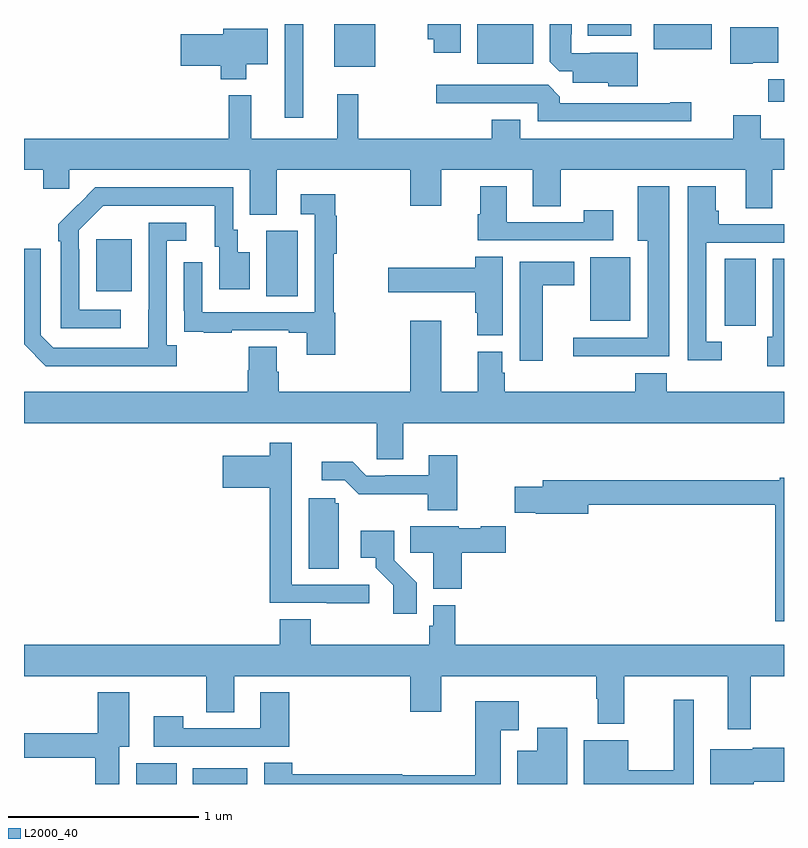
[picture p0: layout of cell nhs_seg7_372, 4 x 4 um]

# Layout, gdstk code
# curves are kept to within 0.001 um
import gdstk
lib = gdstk.Library(unit=1e-6, precision=1e-09)
def R(c, l, rs):  # rectangles x0, y0, x1, y1
    for r in rs: c.add(gdstk.rectangle(r[:2], r[2:], *l))
def P(c, l, *ps):  # polygons
    for p in ps: c.add(gdstk.Polygon(p, *l))
L2000_40 = (2000, 40)

nhs_seg7_372 = lib.new_cell('nhs_seg7_372')
R(nhs_seg7_372, L2000_40, [(139.592,1048,139.804,1048.108), (139.889,1048,140.176,1048.084), (142.688,1050.411,142.852,1050.764), (141.98,1050.437,142.192,1050.772), (140.276,1050.568,140.44,1050.912), (139.379,1050.593,139.567,1050.868), (140.373,1051.506,140.47,1052), (142.918,1051.59,143,1051.708), (140.633,1051.775,140.848,1052), (141.386,1051.79,141.679,1052), (142.314,1051.868,142.621,1052), (141.968,1051.937,142.195,1052)])
P(nhs_seg7_372, L2000_40, [(141.298,1052),(141.125,1052),(141.125,1051.919),(141.157,1051.919),(141.157,1051.848),(141.298,1051.848)],
  [(142.231,1051.849),(141.979,1051.849),(141.979,1051.845),(141.879,1051.845),(141.879,1051.945),(141.883,1051.945),(141.883,1052),(141.767,1052),(141.767,1051.801),(141.816,1051.752),(141.887,1051.752),(141.887,1051.691),(142.074,1051.691),(142.074,1051.673),(142.231,1051.673)],
  [(142.836,1051.796),(142.969,1051.796),(142.969,1051.984),(142.718,1051.984),(142.718,1051.79),(142.836,1051.79)],
  [(140.17,1051.787),(140.284,1051.787),(140.284,1051.975),(140.048,1051.975),(140.048,1051.945),(139.824,1051.945),(139.824,1051.78),(140.036,1051.78),(140.036,1051.709),(140.17,1051.709)],
  [(142.513,1051.589),(142.4,1051.589),(142.4,1051.584),(141.821,1051.584),(141.821,1051.618),(141.759,1051.68),(141.171,1051.68),(141.171,1051.584),(141.705,1051.584),(141.705,1051.488),(142.513,1051.488)],
  [(140.329,1051.232),(141.032,1051.232),(141.032,1051.044),(141.196,1051.044),(141.196,1051.232),(141.677,1051.232),(141.677,1051.042),(141.825,1051.042),(141.825,1051.232),(142.799,1051.232),(142.799,1051.03),(142.939,1051.03),(142.939,1051.232),(143,1051.232),(143,1051.396),(142.877,1051.396),(142.877,1051.52),(142.733,1051.52),(142.733,1051.396),(141.613,1051.396),(141.613,1051.495),(141.461,1051.495),(141.461,1051.396),(140.758,1051.396),(140.758,1051.63),(140.648,1051.63),(140.648,1051.396),(140.195,1051.396),(140.195,1051.624),(140.077,1051.624),(140.077,1051.396),(139,1051.396),(139,1051.232),(139.1,1051.232),(139.1,1051.134),(139.239,1051.134),(139.239,1051.232),(140.189,1051.232),(140.189,1050.997),(140.329,1050.997)],
  [(142.672,1050.327),(142.59,1050.327),(142.59,1050.849),(143,1050.849),(143,1050.945),(142.657,1050.945),(142.657,1051.017),(142.642,1051.017),(142.642,1051.147),(142.494,1051.147),(142.494,1050.23),(142.672,1050.23)],
  [(142.102,1051.021),(141.946,1051.021),(141.946,1050.957),(141.541,1050.957),(141.541,1051.147),(141.401,1051.147),(141.401,1050.999),(141.389,1050.999),(141.389,1050.861),(142.102,1050.861)],
  [(142.396,1051.147),(142.229,1051.147),(142.229,1050.86),(142.283,1050.86),(142.283,1050.348),(141.891,1050.348),(141.891,1050.251),(142.396,1050.251)],
  [(139.51,1050.495),(139.29,1050.495),(139.29,1050.815),(139.287,1050.815),(139.287,1050.915),(139.416,1051.044),(140.003,1051.044),(140.003,1050.828),(140.027,1050.828),(140.027,1050.603),(140.188,1050.603),(140.188,1050.799),(140.125,1050.799),(140.125,1050.918),(140.1,1050.918),(140.1,1051.14),(139.376,1051.14),(139.179,1050.945),(139.179,1050.857),(139.194,1050.857),(139.194,1050.399),(139.51,1050.399)],
  [(140.638,1050.48),(140.63,1050.48),(140.63,1050.792),(140.645,1050.792),(140.645,1050.992),(140.638,1050.992),(140.638,1051.105),(140.457,1051.105),(140.457,1050.999),(140.529,1050.999),(140.529,1050.483),(139.938,1050.483),(139.938,1050.745),(139.842,1050.745),(139.842,1050.49),(139.843,1050.49),(139.843,1050.381),(139.945,1050.381),(139.945,1050.375),(140.093,1050.375),(140.093,1050.387),(140.393,1050.387),(140.393,1050.375),(140.489,1050.375),(140.489,1050.258),(140.638,1050.258)],
  [(139.804,1050.31),(139.752,1050.31),(139.752,1050.858),(139.855,1050.858),(139.855,1050.954),(139.656,1050.954),(139.655,1050.297),(139.155,1050.297),(139.089,1050.363),(139.089,1050.817),(139,1050.817),(139,1050.314),(139.114,1050.2),(139.804,1050.2)],
  [(141.52,1050.776),(141.374,1050.776),(141.374,1050.717),(140.916,1050.717),(140.916,1050.587),(141.374,1050.587),(141.374,1050.479),(141.386,1050.479),(141.386,1050.361),(141.52,1050.361)],
  [(143,1050.764),(142.94,1050.764),(142.94,1050.354),(142.913,1050.354),(142.913,1050.2),(143,1050.2)],
  [(141.73,1050.626),(141.895,1050.626),(141.895,1050.748),(141.608,1050.748),(141.608,1050.228),(141.73,1050.228)],
  [(140.995,1049.9),(143,1049.9),(143,1050.064),(142.382,1050.064),(142.382,1050.163),(142.217,1050.163),(142.217,1050.064),(141.53,1050.064),(141.53,1050.165),(141.517,1050.165),(141.517,1050.276),(141.389,1050.276),(141.389,1050.064),(141.196,1050.064),(141.196,1050.439),(141.032,1050.439),(141.032,1050.064),(140.342,1050.064),(140.342,1050.17),(140.329,1050.17),(140.329,1050.302),(140.182,1050.302),(140.182,1050.177),(140.177,1050.177),(140.177,1050.064),(139,1050.064),(139,1049.9),(140.856,1049.9),(140.856,1049.71),(140.995,1049.71)],
  [(140.818,1049.049),(140.409,1049.049),(140.409,1049.574),(140.41,1049.574),(140.41,1049.797),(140.293,1049.797),(140.293,1049.728),(140.046,1049.728),(140.046,1049.558),(140.293,1049.558),(140.293,1048.953),(140.593,1048.953),(140.593,1048.951),(140.818,1048.951)],
  [(141.279,1049.731),(141.131,1049.731),(141.131,1049.625),(140.902,1049.625),(140.902,1049.622),(140.802,1049.622),(140.729,1049.695),(140.568,1049.695),(140.568,1049.598),(140.688,1049.598),(140.761,1049.525),(141.124,1049.526),(141.124,1049.441),(141.279,1049.441)],
  [(143,1049.611),(142.977,1049.611),(142.977,1049.599),(141.731,1049.599),(141.731,1049.565),(141.582,1049.565),(141.582,1049.427),(141.694,1049.427),(141.694,1049.423),(141.97,1049.423),(141.97,1049.47),(142.954,1049.47),(142.954,1048.857),(143,1048.857)],
  [(140.656,1049.478),(140.637,1049.478),(140.637,1049.505),(140.498,1049.505),(140.498,1049.134),(140.656,1049.134)],
  [(141.305,1049.218),(141.535,1049.218),(141.535,1049.356),(141.405,1049.356),(141.405,1049.347),(141.288,1049.347),(141.288,1049.356),(141.034,1049.356),(141.034,1049.218),(141.155,1049.218),(141.155,1049.027),(141.305,1049.027)],
  [(141.068,1049.058),(140.949,1049.177),(140.949,1049.332),(140.772,1049.332),(140.772,1049.192),(140.852,1049.192),(140.852,1049.137),(140.943,1049.047),(140.943,1048.896),(141.068,1048.896)],
  [(142.825,1048.568),(143,1048.568),(143,1048.732),(141.269,1048.732),(141.269,1048.942),(141.153,1048.942),(141.153,1048.833),(141.133,1048.833),(141.133,1048.732),(140.51,1048.732),(140.51,1048.868),(140.345,1048.868),(140.345,1048.732),(139,1048.732),(139,1048.568),(139.96,1048.568),(139.96,1048.378),(140.107,1048.378),(140.107,1048.568),(141.032,1048.568),(141.032,1048.38),(141.196,1048.38),(141.196,1048.568),(142.012,1048.568),(142.012,1048.448),(142.019,1048.448),(142.019,1048.316),(142.159,1048.316),(142.159,1048.568),(142.703,1048.568),(142.703,1048.287),(142.825,1048.287)],
  [(139.501,1048.196),(139.555,1048.196),(139.555,1048.483),(139.388,1048.483),(139.388,1048.267),(139,1048.267),(139,1048.138),(139.376,1048.138),(139.376,1048),(139.501,1048)],
  [(140.396,1048.483),(140.243,1048.483),(140.243,1048.293),(139.839,1048.293),(139.839,1048.357),(139.683,1048.357),(139.683,1048.197),(140.396,1048.197)],
  [(142.525,1048.444),(142.421,1048.444),(142.421,1048.073),(142.18,1048.073),(142.18,1048.231),(141.947,1048.231),(141.947,1048),(142.525,1048)],
  [(141.508,1048.283),(141.604,1048.283),(141.604,1048.435),(141.374,1048.435),(141.374,1048.045),(140.99,1048.045),(140.99,1048.052),(140.411,1048.052),(140.411,1048.112),(140.264,1048.112),(140.264,1048),(141.508,1048)],
  [(141.859,1048.297),(141.701,1048.297),(141.701,1048.174),(141.596,1048.174),(141.596,1048),(141.859,1048)],
  [(142.84,1048.013),(143,1048.013),(143,1048.191),(142.836,1048.191),(142.836,1048.183),(142.613,1048.183),(142.613,1048),(142.84,1048)])

lib.write_gds('nhs_seg7_372.gds')
